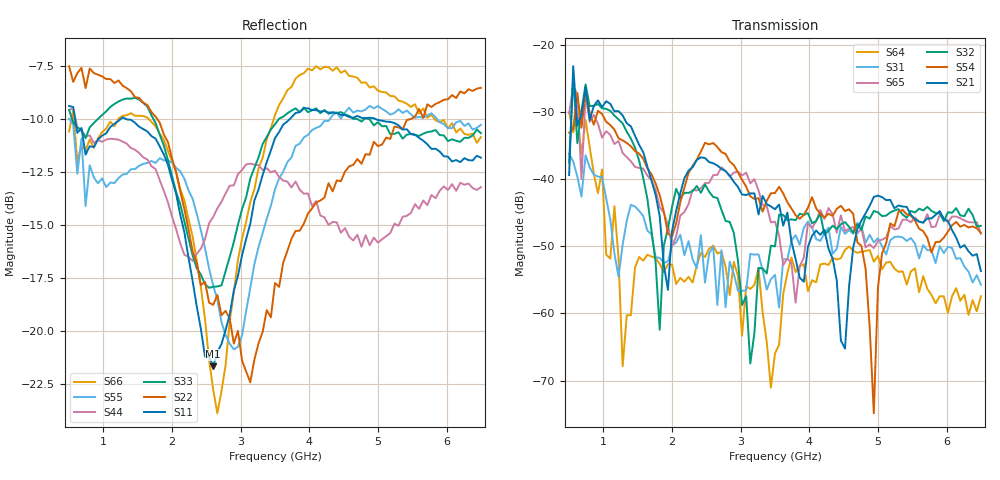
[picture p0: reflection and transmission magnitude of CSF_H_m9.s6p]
!Keysight Technologies,M9804A,MY58100912,A.14.10.03
!Date: Thursday, April 27, 2023 10:28:33
!Correction: S11(C  6-Port  )
!S12(C  6-Port  )
!S13(C  6-Port  )
!S14(C  6-Port  )
!S15(C  6-Port  )
!S16(C  6-Port  )
!S21(C  6-Port  )
!S22(C  6-Port  )
!S23(C  6-Port  )
!S24(C  6-Port  )
!S25(C  6-Port  )
!S26(C  6-Port  )
!S31(C  6-Port  )
!S32(C  6-Port  )
!S33(C  6-Port  )
!S34(C  6-Port  )
!S35(C  6-Port  )
!S36(C  6-Port  )
!S41(C  6-Port  )
!S42(C  6-Port  )
!S43(C  6-Port  )
!S44(C  6-Port  )
!S45(C  6-Port  )
!S46(C  6-Port  )
!S51(C  6-Port  )
!S52(C  6-Port  )
!S53(C  6-Port  )
!S54(C  6-Port  )
!S55(C  6-Port  )
!S56(C  6-Port  )
!S61(C  6-Port  )
!S62(C  6-Port  )
!S63(C  6-Port  )
!S64(C  6-Port  )
!S65(C  6-Port  )
!S66(C  6-Port  )
!S6P File: Measurement: :
# Hz S  RI  R 50
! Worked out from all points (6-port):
!   101 points, 500 MHz to 6.5 GHz, reference 50 ohm
!   strongest paths, dB at 500 MHz, 2 GHz, 3.5 GHz, 5 GHz, 6.5 GHz:
!     S21: -39.4, -47.7, -44.5, -42.5, -53.7
!     S54: -33.1, -48.5, -42.1, -56.2, -48.0
!     S32: -37.5, -44.1, -50.0, -44.9, -47.0
!     S65: -30.2, -50.0, -46.3, -49.2, -48.1
!     S31: -36.2, -49.9, -54.3, -48.8, -55.7
!     S64: -30.0, -52.7, -65.9, -51.4, -57.4
!   lowest |S11| = -21.7 dB at 2.6 GHz (marker M1), VSWR 1.18, Z = 42.6 + j2 ohm
!   |S11| at or under -10 dB: 588.2 MHz to 1.248 GHz (660.2 MHz wide, 71.9 % of centre); 1.334 GHz to 3.713 GHz (2.379 GHz wide, 94.3 % of centre); 4.972 GHz to end of sweep
